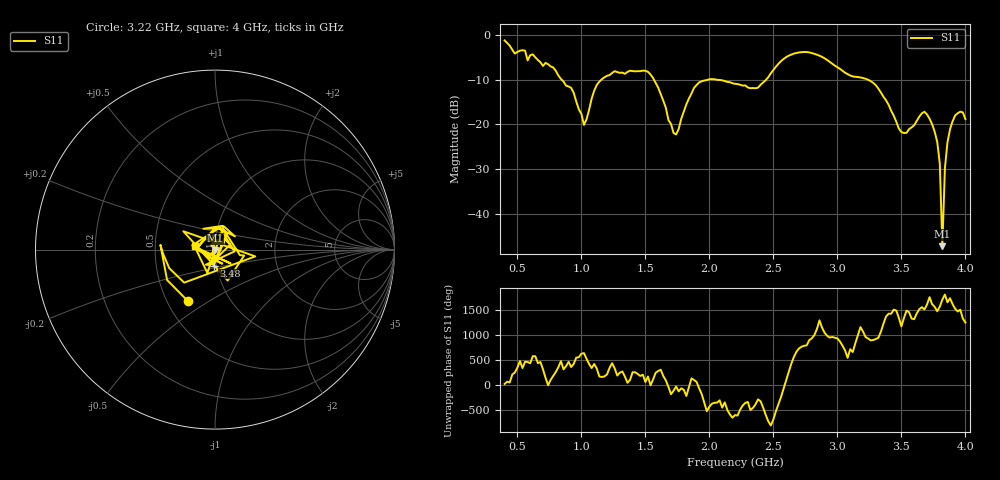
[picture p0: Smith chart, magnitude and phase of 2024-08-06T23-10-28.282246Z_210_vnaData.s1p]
!Created with skrf (http://scikit-rf.org).
# Hz S RI R 50.0
!freq ReS11 ImS11
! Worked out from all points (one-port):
!   181 points, 400 MHz to 4 GHz, reference 50 ohm
!   lowest |S11| = -47.3 dB at 3.82 GHz (marker M1), VSWR 1.01, Z = 50 - j0.433 ohm
!   |S11| at or under -10 dB: 1.567 GHz to 1.987 GHz (420.2 MHz wide, 23.6 % of centre); 2.058 GHz to 2.443 GHz (384.8 MHz wide, 17.1 % of centre); 3.24 GHz to end of sweep (the widest 3 of 4)
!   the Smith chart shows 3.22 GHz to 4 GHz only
!   S11 on the Smith chart (normalised r, x): 3.22 GHz: 0.64, -0.41; 3.48 GHz: 0.97, -0.18; 4 GHz: 0.80, +0.03
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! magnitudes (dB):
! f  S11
! 400 MHz  -1.2
! 860 MHz  -10.4
! 940 MHz  -12.9
! 1.02 GHz  -20.1
! 1.12 GHz  -11.2
! 1.3 GHz  -8.4
! 1.52 GHz  -8.2
! 1.6 GHz  -11.8
! 1.72 GHz  -21.9
! 1.76 GHz  -21.0
! 1.92 GHz  -10.6
! 2.2 GHz  -10.9
! 2.38 GHz  -11.8
! 2.66 GHz  -4.1
! 2.86 GHz  -4.6
! 3.1 GHz  -9.1
! 3.22 GHz  -9.8
! 3.32 GHz  -12.0
! 3.48 GHz  -20.9
! 3.56 GHz  -21.1
! 3.68 GHz  -17.2
! 3.76 GHz  -21.6
! 3.8 GHz  -28.8
! 3.82 GHz  -47.3
! 3.84 GHz  -29.8
! 3.86 GHz  -24.0
! 3.92 GHz  -18.0
! 4 GHz  -18.8
